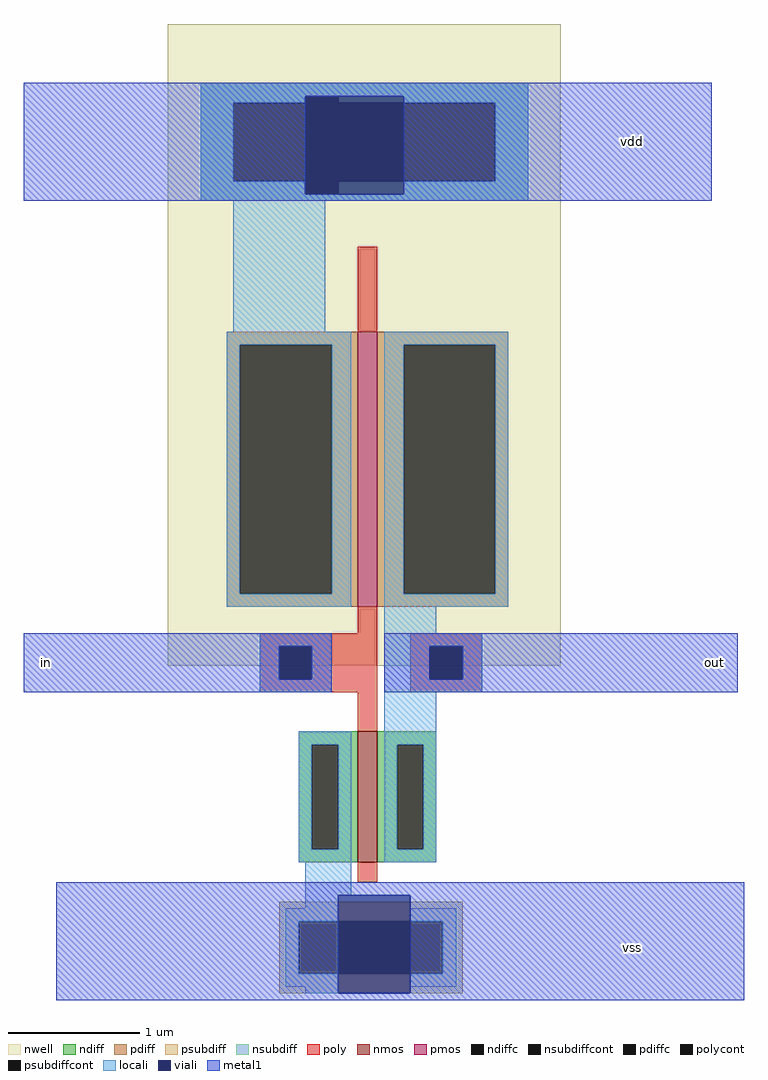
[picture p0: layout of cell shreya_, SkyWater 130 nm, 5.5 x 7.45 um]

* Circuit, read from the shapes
.subckt shreya_ in out vdd vss
XM1 out in vss vss sky130_fd_pr__nfet_01v8 w=1 l=0.15
XM2 out in vdd vdd sky130_fd_pr__pfet_01v8 w=2.1 l=0.15
.ends

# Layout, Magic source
magic
tech sky130A
<< nwell >>
rect -250 400 50 890
<< nmos >>
rect -105 250 -90 350
<< pmos >>
rect -105 445 -90 655
<< ndiff >>
rect -150 340 -105 350
rect -150 260 -140 340
rect -120 260 -105 340
rect -150 250 -105 260
rect -90 340 -45 350
rect -90 260 -75 340
rect -55 260 -45 340
rect -90 250 -45 260
<< pdiff >>
rect -205 645 -105 655
rect -205 455 -195 645
rect -125 455 -105 645
rect -205 445 -105 455
rect -90 645 10 655
rect -90 455 -70 645
rect 0 455 10 645
rect -90 445 10 455
<< ndiffc >>
rect -140 260 -120 340
rect -75 260 -55 340
<< pdiffc >>
rect -195 455 -125 645
rect -70 455 0 645
<< psubdiff >>
rect -165 205 -25 220
rect -165 165 -150 205
rect -40 165 -25 205
rect -165 150 -25 165
<< nsubdiff >>
rect -225 835 25 845
rect -225 830 -145 835
rect -120 830 25 835
rect -225 770 -200 830
rect 0 770 25 830
rect -225 760 -145 770
rect -120 760 25 770
rect -225 755 25 760
<< psubdiffcont >>
rect -150 165 -40 205
<< nsubdiffcont >>
rect -145 830 -120 835
rect -200 770 0 830
rect -145 760 -120 770
<< poly >>
rect -105 655 -90 720
rect -105 425 -90 445
rect -180 415 -90 425
rect -180 390 -165 415
rect -140 390 -90 415
rect -180 380 -90 390
rect -65 415 -10 425
rect -65 390 -50 415
rect -25 390 -10 415
rect -65 380 -10 390
rect -105 350 -90 380
rect -105 235 -90 250
<< polycont >>
rect -165 390 -140 415
rect -50 390 -25 415
<< locali >>
rect -225 835 25 845
rect -225 830 -145 835
rect -70 830 25 835
rect -225 770 -200 830
rect 0 770 25 830
rect -225 760 -145 770
rect -70 760 25 770
rect -225 755 25 760
rect -200 655 -130 755
rect -205 645 -110 655
rect -205 455 -195 645
rect -125 455 -110 645
rect -205 445 -110 455
rect -85 645 10 655
rect -85 455 -70 645
rect 0 455 10 645
rect -85 445 10 455
rect -85 425 -45 445
rect -180 415 -125 425
rect -180 390 -165 415
rect -140 390 -125 415
rect -180 380 -125 390
rect -85 415 -10 425
rect -85 390 -50 415
rect -25 390 -10 415
rect -85 380 -10 390
rect -150 340 -110 350
rect -150 260 -140 340
rect -120 260 -110 340
rect -150 250 -110 260
rect -85 340 -45 380
rect -85 260 -75 340
rect -55 260 -45 340
rect -85 250 -45 260
rect -145 225 -110 250
rect -145 215 -120 225
rect -160 205 -120 215
rect -65 205 -30 215
rect -160 165 -150 205
rect -40 165 -30 205
rect -160 155 -120 165
rect -145 150 -120 155
rect -65 155 -30 165
<< viali >>
rect -145 830 -120 835
rect -120 830 -70 835
rect -145 770 -70 830
rect -145 760 -120 770
rect -120 760 -70 770
rect -165 390 -140 415
rect -50 390 -25 415
rect -120 205 -65 225
rect -120 165 -65 205
rect -120 150 -65 165
<< metal1 >>
rect -360 835 165 845
rect -360 760 -145 835
rect -70 760 165 835
rect -360 755 165 760
rect -360 415 -125 425
rect -360 390 -165 415
rect -140 390 -125 415
rect -360 380 -125 390
rect -85 415 185 425
rect -85 390 -50 415
rect -25 390 185 415
rect -85 380 185 390
rect -335 225 190 235
rect -335 150 -120 225
rect -65 150 190 225
rect -335 145 190 150
<< labels >>
rlabel metal1 105 800 105 800 1 vdd
rlabel metal1 105 185 105 185 1 vss
rlabel metal1 160 390 175 415 1 out
rlabel metal1 -350 390 -335 415 1 in
<< end >>
